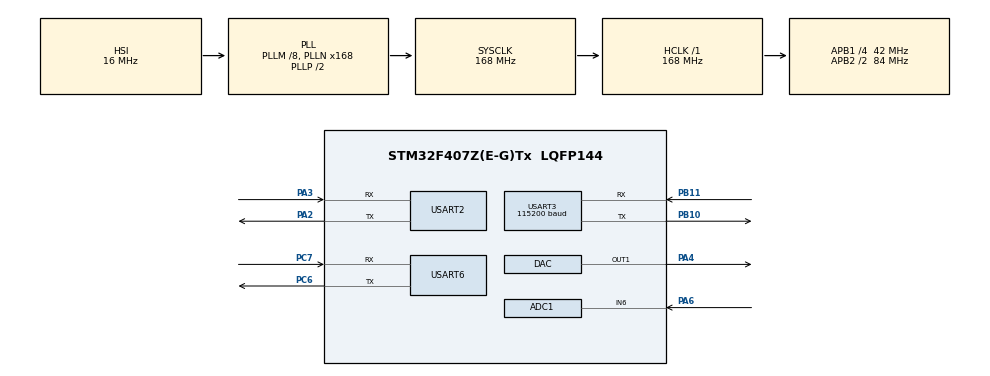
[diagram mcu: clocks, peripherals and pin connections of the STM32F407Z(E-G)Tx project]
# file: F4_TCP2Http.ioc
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ADC1.Channel-0\#ChannelRegularConversion=ADC_CHANNEL_6
ADC1.DMAContinuousRequests=ENABLE
ADC1.ExternalTrigConv=ADC_EXTERNALTRIGCONV_T3_TRGO
ADC1.NbrOfConversionFlag=1
ADC1.Rank-0\#ChannelRegularConversion=1
ADC1.SamplingTime-0\#ChannelRegularConversion=ADC_SAMPLETIME_3CYCLES
ADC1.master=1
DAC.DAC_Trigger=DAC_TRIGGER_T4_TRGO
Dma.ADC1.1.Direction=DMA_PERIPH_TO_MEMORY
Dma.ADC1.1.FIFOMode=DMA_FIFOMODE_DISABLE
Dma.ADC1.1.Instance=DMA2_Stream0
Dma.ADC1.1.MemDataAlignment=DMA_MDATAALIGN_HALFWORD
Dma.ADC1.1.MemInc=DMA_MINC_ENABLE
Dma.ADC1.1.Mode=DMA_CIRCULAR
Dma.ADC1.1.PeriphDataAlignment=DMA_PDATAALIGN_HALFWORD
Dma.ADC1.1.PeriphInc=DMA_PINC_DISABLE
Dma.ADC1.1.Priority=DMA_PRIORITY_LOW
Dma.DAC1.2.Direction=DMA_MEMORY_TO_PERIPH
Dma.DAC1.2.FIFOMode=DMA_FIFOMODE_DISABLE
Dma.DAC1.2.Instance=DMA1_Stream5
Dma.DAC1.2.MemDataAlignment=DMA_MDATAALIGN_HALFWORD
Dma.DAC1.2.MemInc=DMA_MINC_ENABLE
Dma.DAC1.2.Mode=DMA_NORMAL
Dma.DAC1.2.PeriphDataAlignment=DMA_PDATAALIGN_HALFWORD
Dma.DAC1.2.PeriphInc=DMA_PINC_DISABLE
Dma.DAC1.2.Priority=DMA_PRIORITY_LOW
Dma.Request0=USART6_RX
Dma.Request1=ADC1
Dma.Request2=DAC1
Dma.USART6_RX.0.Direction=DMA_PERIPH_TO_MEMORY
Dma.USART6_RX.0.FIFOMode=DMA_FIFOMODE_DISABLE
Dma.USART6_RX.0.Instance=DMA2_Stream1
Dma.USART6_RX.0.MemDataAlignment=DMA_MDATAALIGN_BYTE
Dma.USART6_RX.0.MemInc=DMA_MINC_ENABLE
Dma.USART6_RX.0.Mode=DMA_CIRCULAR
Dma.USART6_RX.0.PeriphDataAlignment=DMA_PDATAALIGN_BYTE
Dma.USART6_RX.0.PeriphInc=DMA_PINC_DISABLE
Dma.USART6_RX.0.Priority=DMA_PRIORITY_LOW
Mcu.Family=STM32F4
Mcu.Name=STM32F407Z(E-G)Tx
Mcu.Package=LQFP144
NVIC.DMA2_Stream0_IRQn=true\:0\:0\:false\:false\:true\:true\:true\:true
NVIC.PriorityGroup=NVIC_PRIORITYGROUP_4
NVIC.TIM6_DAC_IRQn=true\:1\:0\:true\:false\:true\:true\:true\:true
NVIC.USART2_IRQn=true\:0\:0\:false\:false\:true\:true\:true\:true
NVIC.USART3_IRQn=true\:0\:0\:false\:false\:true\:true\:true\:true
NVIC.USART6_IRQn=true\:0\:0\:false\:false\:false\:true\:true\:true
PA13.Mode=Serial_Wire
PA13.Signal=SYS_JTMS-SWDIO
PA14.Mode=Serial_Wire
PA14.Signal=SYS_JTCK-SWCLK
PA2.Mode=Asynchronous
PA2.Signal=USART2_TX
PA3.Mode=Asynchronous
PA3.Signal=USART2_RX
PA4.Signal=COMP_DAC1_group
PA6.Signal=ADCx_IN6
PB10.Mode=Asynchronous
PB10.Signal=USART3_TX
PB11.Mode=Asynchronous
PB11.Signal=USART3_RX
PC14-OSC32_IN.Mode=LSE-External-Oscillator
PC14-OSC32_IN.Signal=RCC_OSC32_IN
PC15-OSC32_OUT.Mode=LSE-External-Oscillator
PC15-OSC32_OUT.Signal=RCC_OSC32_OUT
PC6.Mode=Asynchronous
PC6.Signal=USART6_TX
PC7.Mode=Asynchronous
PC7.Signal=USART6_RX
PH0-OSC_IN.Mode=HSE-External-Oscillator
PH0-OSC_IN.Signal=RCC_OSC_IN
PH1-OSC_OUT.Mode=HSE-External-Oscillator
PH1-OSC_OUT.Signal=RCC_OSC_OUT
ProjectManager.HeapSize=0x200
ProjectManager.StackSize=0x400
ProjectManager.TargetToolchain=STM32CubeIDE
RCC.48MHZClocksFreq_Value=84000000
RCC.AHBFreq_Value=168000000
RCC.APB1CLKDivider=RCC_HCLK_DIV4
RCC.APB1Freq_Value=42000000
RCC.APB1TimFreq_Value=84000000
RCC.APB2CLKDivider=RCC_HCLK_DIV2
RCC.APB2Freq_Value=84000000
RCC.APB2TimFreq_Value=168000000
RCC.CortexFreq_Value=168000000
RCC.HCLKFreq_Value=168000000
RCC.HSE_VALUE=8000000
RCC.HSI_VALUE=16000000
RCC.PLLM=8
RCC.PLLN=168
RCC.SYSCLKFreq_VALUE=168000000
RCC.SYSCLKSource=RCC_SYSCLKSOURCE_PLLCLK
RCC.VCOOutputFreq_Value=336000000
SH.ADCx_IN6.0=ADC1_IN6,IN6
SH.COMP_DAC1_group.0=DAC_OUT1,DAC_OUT1
TIM3.Period=2000-1
TIM3.Prescaler=84-1
TIM3.TIM_MasterOutputTrigger=TIM_TRGO_UPDATE
TIM4.Period=2000-1
TIM4.Prescaler=840-1
TIM4.TIM_MasterOutputTrigger=TIM_TRGO_UPDATE
USART2.VirtualMode=VM_ASYNC
USART3.BaudRate=115200
USART3.VirtualMode=VM_ASYNC
USART6.VirtualMode=VM_ASYNC
VP_TIM3_VS_ClockSourceINT.Mode=Internal
VP_TIM4_VS_ClockSourceINT.Mode=Internal
VP_TIM6_VS_ClockSourceINT.Mode=Enable_Timer
VP_TIM6_VS_OPM.Mode=OPM_bit
board=custom

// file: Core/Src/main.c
/* USER CODE BEGIN Header */
/**
  ******************************************************************************
  * @file           : main.c
  * @brief          : Main program body
  ******************************************************************************
  * @attention
  *
  * Copyright (c) 2022 STMicroelectronics.
  * All rights reserved.
  *
  * This software is licensed under terms that can be found in the LICENSE file
  * in the root directory of this software component.
  * If no LICENSE file comes with this software, it is provided AS-IS.
  *
  ******************************************************************************
  */
/* USER CODE END Header */
#include "main.h"
#include "adc.h"
#include "dac.h"
#include "dma.h"
#include "tim.h"
#include "usart.h"
#include "gpio.h"

/* USER CODE BEGIN Includes */
#include "stdio.h"
/* USER CODE END Includes */

/* USER CODE BEGIN PV */
uint16_t trig[79];
uint16_t adcx[400];
/* USER CODE END PV */

void SystemClock_Config(void);

int main(void)
{
  /* USER CODE BEGIN 1 */

	uint16_t i;
  /* USER CODE END 1 */

  /* MCU Configuration--------------------------------------------------------*/

  /* Reset of all peripherals, Initializes the Flash interface and the Systick. */
  HAL_Init();

  /* Configure the system clock */
  SystemClock_Config();

  /* Initialize all configured peripherals */
  MX_GPIO_Init();
  MX_DMA_Init();
  MX_USART3_UART_Init();
  MX_USART6_UART_Init();
  MX_TIM6_Init();
  MX_ADC1_Init();
  MX_DAC_Init();
  MX_TIM3_Init();
  MX_TIM4_Init();
  MX_USART2_UART_Init();
  /* USER CODE BEGIN 2 */
  for(i=0;i<75;i++){
	  if(i<39)
	  {
		  trig[i]=75*i;
	  }
	  else
	  {
		  trig[i]=2550-75*(i-40);
	  }
  }
  HAL_TIM_Base_Start(&htim3);//adc
//  HAL_ADC_Start_DMA(&hadc1, (uint32_t *)adcx, 400);
  //dac-dma
  HAL_TIM_Base_Start(&htim4);
//  HAL_DAC_Start_DMA(&hdac, DAC1_CHANNEL_1,(uint32_t *)trig, 80 , DAC_ALIGN_12B_R);
  extern void MineMain();
  MineMain();

  /* USER CODE END 2 */

  /* Infinite loop */
  while (1)
  {

    /* USER CODE BEGIN 3 */
    //冒泡
	  printf("uart2");
	  HAL_Delay(100);
  }
  /* USER CODE END 3 */
}

void SystemClock_Config(void)
{
  RCC_OscInitTypeDef RCC_OscInitStruct = {0};
  RCC_ClkInitTypeDef RCC_ClkInitStruct = {0};

  /** Configure the main internal regulator output voltage
  */
  __HAL_RCC_PWR_CLK_ENABLE();
  __HAL_PWR_VOLTAGESCALING_CONFIG(PWR_REGULATOR_VOLTAGE_SCALE1);

  /** Initializes the RCC Oscillators according to the specified parameters
  * in the RCC_OscInitTypeDef structure.
  */
  RCC_OscInitStruct.OscillatorType = RCC_OSCILLATORTYPE_HSI;
  RCC_OscInitStruct.HSIState = RCC_HSI_ON;
  RCC_OscInitStruct.HSICalibrationValue = RCC_HSICALIBRATION_DEFAULT;
  RCC_OscInitStruct.PLL.PLLState = RCC_PLL_ON;
  RCC_OscInitStruct.PLL.PLLSource = RCC_PLLSOURCE_HSI;
  RCC_OscInitStruct.PLL.PLLM = 8;
  RCC_OscInitStruct.PLL.PLLN = 168;
  RCC_OscInitStruct.PLL.PLLP = RCC_PLLP_DIV2;
  RCC_OscInitStruct.PLL.PLLQ = 4;
  if (HAL_RCC_OscConfig(&RCC_OscInitStruct) != HAL_OK)
  {
    Error_Handler();
  }

  /** Initializes the CPU, AHB and APB buses clocks
  */
  RCC_ClkInitStruct.ClockType = RCC_CLOCKTYPE_HCLK|RCC_CLOCKTYPE_SYSCLK
                              |RCC_CLOCKTYPE_PCLK1|RCC_CLOCKTYPE_PCLK2;
  RCC_ClkInitStruct.SYSCLKSource = RCC_SYSCLKSOURCE_PLLCLK;
  RCC_ClkInitStruct.AHBCLKDivider = RCC_SYSCLK_DIV1;
  RCC_ClkInitStruct.APB1CLKDivider = RCC_HCLK_DIV4;
  RCC_ClkInitStruct.APB2CLKDivider = RCC_HCLK_DIV2;

  if (HAL_RCC_ClockConfig(&RCC_ClkInitStruct, FLASH_LATENCY_5) != HAL_OK)
  {
    Error_Handler();
  }
}

void Error_Handler(void)
{
  __disable_irq();
  while (1)
  {
  }
}
